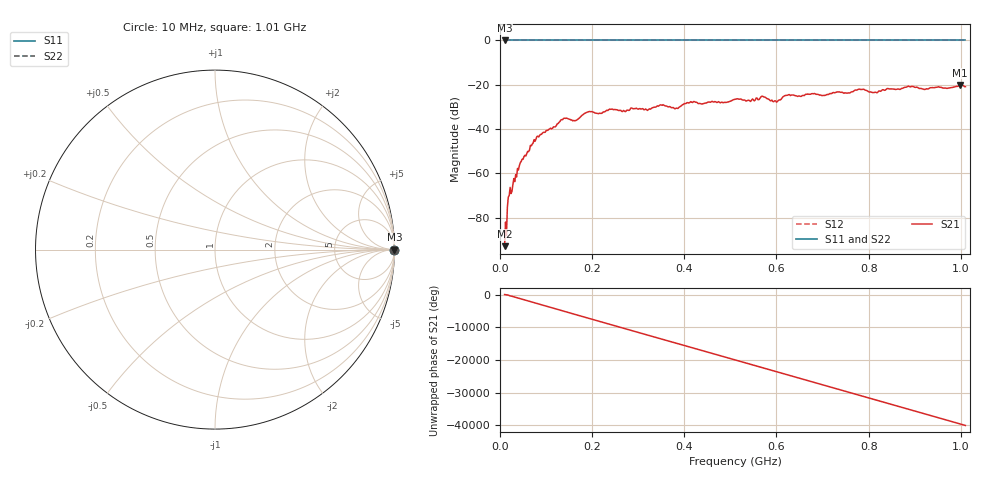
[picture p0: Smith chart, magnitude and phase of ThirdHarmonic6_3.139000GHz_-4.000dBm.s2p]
! 8/17/2025 9:21:51 AM
! C:\ANRITSUVNA\TEMP\TEMP.S2P
! CHANNEL.1
! TR.MEASUREMENT
! RAW.DATA
! RF.CORRECTION.OFF
! AVERAGING.OFF
! IF.BANDWIDTH: 5KHZ
! SWEEPTYPE:  FREQ.SWEEP(Linear)
! Reference Plane Port Info
! PORT:  PORT1  PORT2
! DISTANCE:  0  m  0  m
! TIME:  0  s  0  s
! PHASE.OFFSET:  0  deg.  0  deg.
! LOSS:  0  dB  0  dB
! REF.LOSS:  0  dB  0  dB
! REF.FREQ:  0  Hz  0  Hz
! Power Info
! POWER:  -20  dBm  -20  dBm
! EFF.POWER:  -20  dBm  -20  dBm
! SOURCE.ATTEN:  0  dB  0  dB
! TEST.ATTEN:  0  dB  0  dB
# GHZ S RI R 50.0
! FREQ.GHZ  S11RE  S11IM  S21RE  S21IM  S12RE  S12IM  S22RE  S22IM
!; PortSelection: Port_12
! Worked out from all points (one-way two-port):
!   501 points, 10 MHz to 1.01 GHz, reference 50 ohm
!   highest |S21| = -20.07 dB at 998 MHz (marker M1); lowest = -92.9 dB at 10 MHz (marker M2)
!   lowest |S11| = 0.0 dB at 10 MHz (marker M3)
!   |S11| at or under -10 dB: nowhere
!   |S22| runs from 0.0 to 0.0 dB; largest |S21 - S12| = 1.1
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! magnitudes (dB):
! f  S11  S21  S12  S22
! 10 MHz  0.0  -92.9  0.0  0.0
! 20 MHz  0.0  -70.0  0.0  0.0
! 42 MHz  0.0  -56.5  0.0  0.0
! 78 MHz  0.0  -44.6  0.0  0.0
! 136 MHz  0.0  -35.7  0.0  0.0
! 162 MHz  0.0  -36.3  0.0  0.0
! 178 MHz  0.0  -33.8  0.0  0.0
! 194 MHz  0.0  -32.1  0.0  0.0
! 322 MHz  0.0  -31.2  0.0  0.0
! 344 MHz  0.0  -29.6  0.0  0.0
! 382 MHz  0.0  -30.6  0.0  0.0
! 418 MHz  0.0  -28.0  0.0  0.0
! 510 MHz  0.0  -26.6  0.0  0.0
! 572 MHz  0.0  -25.4  0.0  0.0
! 598 MHz  0.0  -27.3  0.0  0.0
! 624 MHz  0.0  -24.7  0.0  0.0
! 678 MHz  0.0  -24.0  0.0  0.0
! 782 MHz  0.0  -22.1  0.0  0.0
! 814 MHz  0.0  -23.4  0.0  0.0
! 844 MHz  0.0  -21.9  0.0  0.0
! 998 MHz  0.0  -20.1  0.0  0.0
! 1.01 GHz  0.0  -20.9  0.0  0.0
